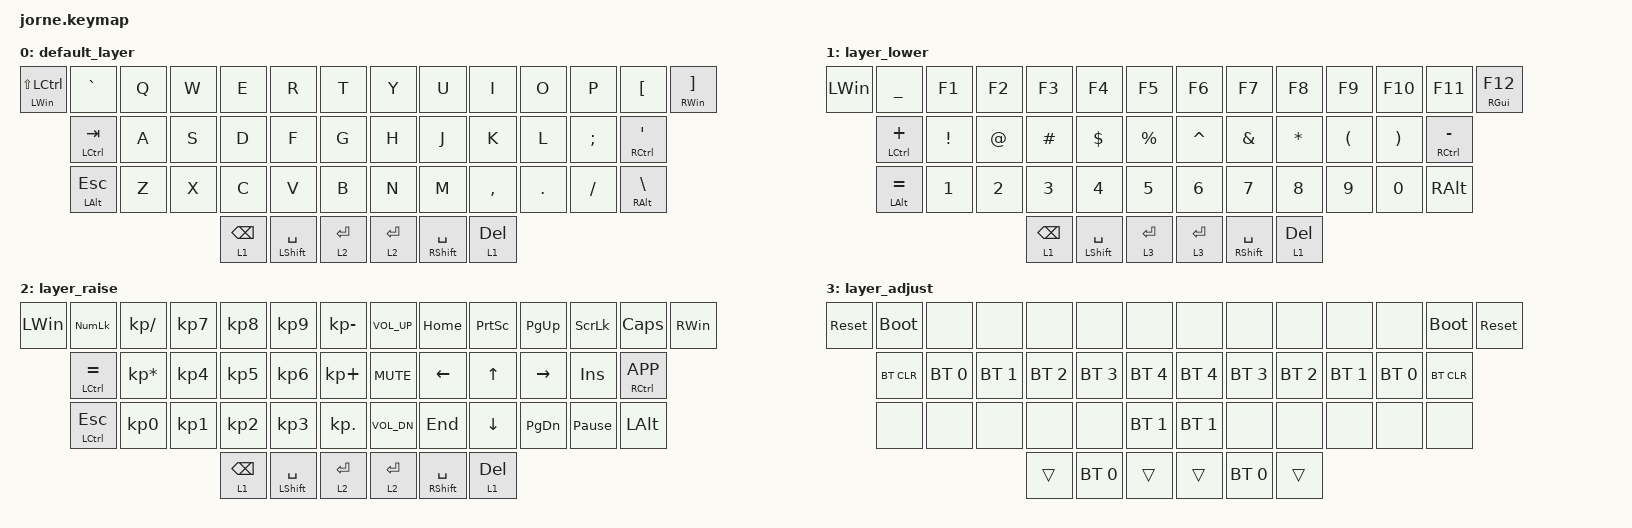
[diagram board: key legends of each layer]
/*
 * Copyright (c) 2020 The ZMK Contributors
 *
 * SPDX-License-Identifier: MIT
 */
/* THIS FILE WAS GENERATED!
 *
 * This file was generated automatically. You may or may not want to
 * edit it directly.
 */

#include <behaviors.dtsi>
#include <dt-bindings/zmk/bt.h>
#include <dt-bindings/zmk/keys.h>
#include "keys_ru.h"

/ {
    combos {
        compatible = "zmk,combos";

        Delete {
            bindings = <&kp DELETE>;
            key-positions = <19 18>;
        };

        Ctr_X {
            bindings = <&kp LC(X)>;
            key-positions = <4 3>;
        };

        Ctr_C {
            bindings = <&kp LC(C)>;
            key-positions = <5 4>;
        };

        Ctr_V {
            bindings = <&kp LC(V)>;
            key-positions = <18 17>;
        };

        Win_C {
            bindings = <&kp LG(V)>;
            key-positions = <5 6>;
        };

        BT-0 {
            bindings = <&bt BT_SEL 0>;
            key-positions = <38 40 39>;
        };

        BT-1 {
            bindings = <&bt BT_SEL 1>;
            key-positions = <40 38 31>;
        };
    };

    keymap {
        compatible = "zmk,keymap";

        default_layer {
            bindings = <
&mt LEFT_WIN LS(LEFT_CONTROL)  &kp GRAVE      &kp Q  &kp W  &kp E            &kp R            &kp T      &kp Y        &kp U            &kp I      &kp O    &kp P     &kp LBKT            &mt RWIN RBKT
                               &mt LCTRL TAB  &kp A  &kp S  &kp D            &kp F            &kp G      &kp H        &kp J            &kp K      &kp L    &kp SEMI  &mt RCTRL SQT
                               &mt LALT ESC   &kp Z  &kp X  &kp C            &kp V            &kp B      &kp N        &kp M            &kp COMMA  &kp DOT  &kp FSLH  &mt RIGHT_ALT BSLH
                                                            &lt 1 BACKSPACE  &mt LSHFT SPACE  &lt 2 RET  &lt 2 ENTER  &mt RSHFT SPACE  &lt 1 DEL
            >;
        };

        layer_lower {
            bindings = <
&kp LEFT_WIN  &kp UNDER       &kp F1    &kp F2  &kp F3           &kp F4                &kp F5       &kp F6       &kp F7                 &kp F8     &kp F9    &kp F10   &kp F11          &mt RGUI F12
              &mt LCTRL PLUS  &kp EXCL  &kp AT  &kp HASH         &kp DLLR              &kp PRCNT    &kp CARET    &kp AMPS               &kp STAR   &kp LPAR  &kp RPAR  &mt RCTRL MINUS
              &mt LALT EQUAL  &kp N1    &kp N2  &kp N3           &kp N4                &kp N5       &kp N6       &kp N7                 &kp N8     &kp N9    &kp N0    &kp RIGHT_ALT
                                                &lt 1 BACKSPACE  &mt LEFT_SHIFT SPACE  &lt 3 ENTER  &lt 3 ENTER  &mt RIGHT_SHIFT SPACE  &lt 1 DEL
            >;
        };

        layer_raise {
            bindings = <
&kp LEFT_WIN  &kp KP_NUM        &kp KP_SLASH     &kp KP_N7  &kp KP_N8        &kp KP_N9             &kp KP_MINUS  &kp C_VOL_UP  &kp HOME               &kp PSCRN     &kp PG_UP  &kp SLCK         &kp CAPS         &kp RIGHT_WIN
              &mt LCTRL EQUAL   &kp KP_MULTIPLY  &kp KP_N4  &kp KP_N5        &kp KP_N6             &kp KP_PLUS   &kp C_MUTE    &kp LEFT               &kp UP        &kp RIGHT  &kp INS          &mt RCTRL K_APP
              &mt LCTRL ESCAPE  &kp KP_N0        &kp KP_N1  &kp KP_N2        &kp KP_N3             &kp KP_DOT    &kp C_VOL_DN  &kp END                &kp DOWN      &kp PG_DN  &kp PAUSE_BREAK  &kp LEFT_ALT
                                                            &lt 1 BACKSPACE  &mt LEFT_SHIFT SPACE  &lt 2 RET     &lt 2 ENTER   &mt RIGHT_SHIFT SPACE  &lt 1 DELETE
            >;
        };

        layer_adjust {
            bindings = <
&sys_reset  &bootloader  &none         &none         &none         &none         &none         &none         &none         &none         &none         &none         &bootloader  &sys_reset
            &bt BT_CLR   &bt BT_SEL 0  &bt BT_SEL 1  &bt BT_SEL 2  &bt BT_SEL 3  &bt BT_SEL 4  &bt BT_SEL 4  &bt BT_SEL 3  &bt BT_SEL 2  &bt BT_SEL 1  &bt BT_SEL 0  &bt BT_CLR
            &none        &none         &none         &none         &none         &bt BT_SEL 1  &bt BT_SEL 1  &none         &none         &none         &none         &none
                                                     &trans        &bt BT_SEL 0  &trans        &trans        &bt BT_SEL 0  &trans
            >;
        };
    };
};
